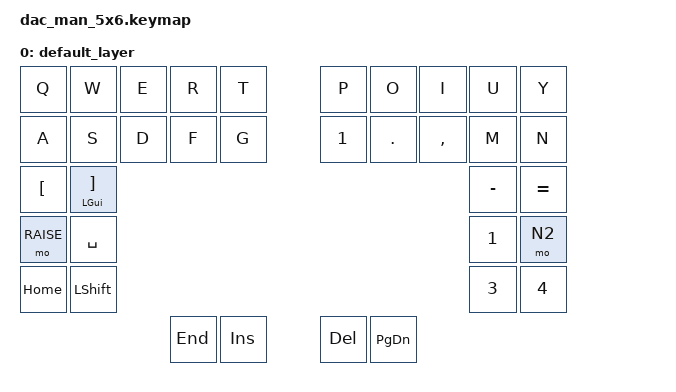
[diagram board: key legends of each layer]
#include <behaviors.dtsi>
#include <dt-bindings/zmk/keys.h>
#include <dt-bindings/zmk/bt.h>

#define DEFAULT 0

/ {
    keymap {
        compatible = "zmk,keymap";

        default_layer {



            bindings = <
&kp Q    &kp W     &kp E      &kp R      &kp T                          &kp P      &kp O      &kp I      &kp U      &kp Y
&kp A    &kp S     &kp D      &kp F      &kp G                          &kp N1     &kp DOT    &kp COMMA  &kp M      &kp N
                   &kp LBKT  &mt LGUI RBKT                                                      &kp MINUS  &kp EQUAL
                                    &mo RAISE  &kp SPACE                &kp N1   &mo N2
                                               &kp HOME &kp LSHIFT                   &kp N3    &kp N4
                                               &kp END  &kp INS                      &kp DEL   &kp PG_DN                                                     
            >;
        };
   };
};
